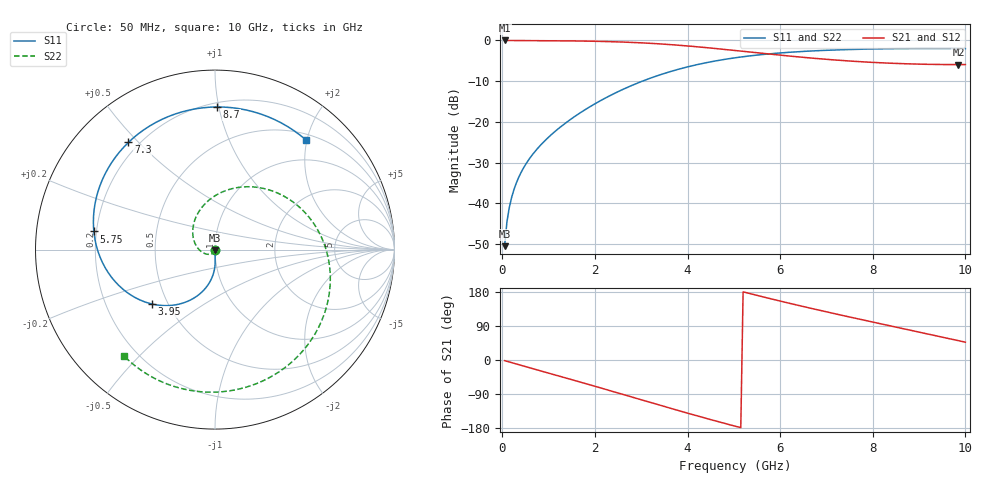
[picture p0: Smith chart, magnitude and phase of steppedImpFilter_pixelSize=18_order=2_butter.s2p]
! freq	dB(S11)	phase(S11)	dB(S12)	phase(S12)
!  dB(S21)	phase(S21)	dB(S22)	phase(S22)
!S-par simulation data
#  GHz  S  DB  R 50
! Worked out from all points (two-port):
!   200 points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, 50 MHz to 10 GHz, reference 50 ohm
!   highest |S21| = 0.00 dB at 50 MHz (marker M1); lowest = -5.9 dB at 9.85 GHz (marker M2)
!   |S21| within 3 dB of the highest: start of sweep to 5.476 GHz
!   lowest |S11| = -50.6 dB at 50 MHz (marker M3), VSWR 1.01, Z = 50 - j0.296 ohm
!   |S11| at or under -10 dB: start of sweep to 3.026 GHz
!   |S22| runs from -50.6 to -2.0 dB; largest |S21 - S12| = 0
!   S11 on the Smith chart (normalised r, x): 50 MHz: 1.00, -0.01; 3.95 GHz: 0.41, -0.31; 5.75 GHz: 0.19, +0.07; 7.3 GHz: 0.16, +0.47; 8.7 GHz: 0.23, +0.99; 10 GHz: 0.60, +1.98
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0.05  -50.56 -88.6  -0.00 -1.7  -0.00 -1.7  -50.62 -92.5
0.1  -44.61 -88.7  -0.01 -3.5  -0.01 -3.5  -44.67 -96.7
0.2  -38.66 -88.9  -0.01 -6.9  -0.01 -6.9  -38.71 -104.8
0.3  -35.12 -89.0  -0.02 -10.3  -0.02 -10.3  -35.16 -112.7
0.45  -31.51 -88.8  -0.02 -15.5  -0.02 -15.5  -31.52 -124.0
0.95  -24.31 -88.7  -0.05 -32.7  -0.05 -32.7  -24.22 -159.2
1.75  -17.29 -94.0  -0.15 -60.5  -0.15 -60.5  -17.12 150.8
2.15  -14.62 -99.5  -0.24 -74.6  -0.24 -74.6  -14.44 128.2
2.55  -12.32 -106.5  -0.37 -88.8  -0.37 -88.8  -12.14 106.9
2.95  -10.34 -114.8  -0.56 -103.1  -0.56 -103.1  -10.16 86.8
3.4  -8.47 -125.4  -0.84 -119.2  -0.84 -119.2  -8.30 65.4
3.95  -6.64 -139.5  -1.30 -138.5  -1.30 -138.5  -6.48 40.9
4.5  -5.25 -154.3  -1.87 -157.3  -1.87 -157.3  -5.09 18.3
5.05  -4.23 -169.3  -2.50 -175.3  -2.50 -175.3  -4.06 -2.4
5.75  -3.32 171.5  -3.32 162.9  -3.32 162.9  -3.15 -26.1
6.7  -2.57 145.5  -4.36 135.4  -4.36 135.4  -2.43 -54.2
7.3  -2.30 128.9  -4.90 118.9  -4.90 118.9  -2.17 -69.9
8.35  -2.03 99.3  -5.58 90.8  -5.58 90.8  -1.99 -94.8
8.7  -1.99 89.2  -5.73 81.6  -5.73 81.6  -1.98 -102.6
9.25  -1.97 73.0  -5.88 67.0  -5.88 67.0  -2.02 -114.5
9.85  -1.99 55.0  -5.94 51.1  -5.94 51.1  -2.12 -127.3
10  -2.01 50.5  -5.93 47.0  -5.93 47.0  -2.16 -130.5
